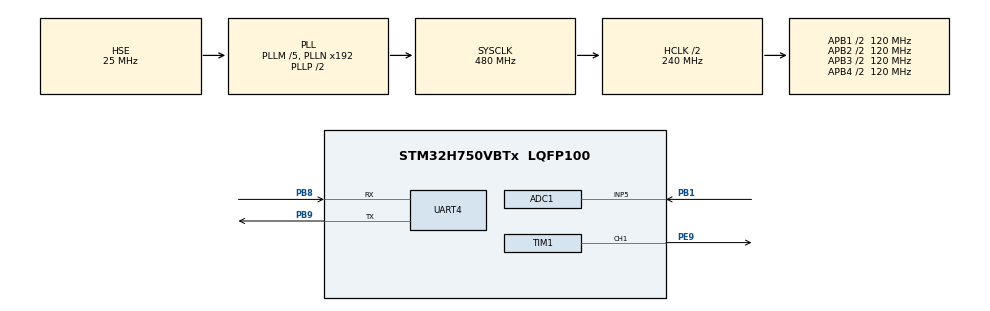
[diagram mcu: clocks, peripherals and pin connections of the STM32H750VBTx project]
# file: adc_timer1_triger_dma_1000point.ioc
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ADC1.Channel-2\#ChannelRegularConversion=ADC_CHANNEL_5
ADC1.ContinuousConvMode=DISABLE
ADC1.ConversionDataManagement=ADC_CONVERSIONDATA_DMA_ONESHOT
ADC1.DiscontinuousConvMode=DISABLE
ADC1.EnableRegularConversion=ENABLE
ADC1.ExternalTrigConv=ADC_EXTERNALTRIG_T1_TRGO
ADC1.NbrOfConversionFlag=1
ADC1.OffsetNumber-2\#ChannelRegularConversion=ADC_OFFSET_NONE
ADC1.OffsetSignedSaturation-2\#ChannelRegularConversion=DISABLE
ADC1.Overrun=ADC_OVR_DATA_OVERWRITTEN
ADC1.OversamplingMode=DISABLE
ADC1.Rank-2\#ChannelRegularConversion=1
ADC1.SamplingTime-2\#ChannelRegularConversion=ADC_SAMPLETIME_1CYCLE_5
ADC1.master=1
Dma.ADC1.0.Direction=DMA_PERIPH_TO_MEMORY
Dma.ADC1.0.EventEnable=DISABLE
Dma.ADC1.0.FIFOMode=DMA_FIFOMODE_DISABLE
Dma.ADC1.0.Instance=DMA1_Stream0
Dma.ADC1.0.MemDataAlignment=DMA_MDATAALIGN_WORD
Dma.ADC1.0.MemInc=DMA_MINC_ENABLE
Dma.ADC1.0.Mode=DMA_NORMAL
Dma.ADC1.0.PeriphDataAlignment=DMA_PDATAALIGN_WORD
Dma.ADC1.0.PeriphInc=DMA_PINC_DISABLE
Dma.ADC1.0.Polarity=HAL_DMAMUX_REQ_GEN_RISING
Dma.ADC1.0.Priority=DMA_PRIORITY_LOW
Dma.ADC1.0.RequestNumber=1
Dma.ADC1.0.SignalID=NONE
Dma.ADC1.0.SyncEnable=DISABLE
Dma.ADC1.0.SyncPolarity=HAL_DMAMUX_SYNC_NO_EVENT
Dma.ADC1.0.SyncRequestNumber=1
Dma.ADC1.0.SyncSignalID=NONE
Dma.Request0=ADC1
Mcu.Family=STM32H7
Mcu.Name=STM32H750VBTx
Mcu.Package=LQFP100
NVIC.ADC_IRQn=true\:3\:2\:true\:false\:true\:true\:true\:true
NVIC.DMA1_Stream0_IRQn=true\:3\:0\:true\:false\:true\:false\:true\:true
NVIC.PriorityGroup=NVIC_PRIORITYGROUP_2
NVIC.TIM1_UP_IRQn=true\:3\:3\:true\:false\:true\:true\:true\:true
PB1.Signal=ADCx_INP5
PB8.Mode=Asynchronous
PB8.Signal=UART4_RX
PB9.Mode=Asynchronous
PB9.Signal=UART4_TX
PE9.Signal=S_TIM1_CH1
PH0-OSC_IN\ (PH0).Mode=HSE-External-Oscillator
PH0-OSC_IN\ (PH0).Signal=RCC_OSC_IN
PH1-OSC_OUT\ (PH1).Mode=HSE-External-Oscillator
PH1-OSC_OUT\ (PH1).Signal=RCC_OSC_OUT
ProjectManager.HeapSize=0x1000
ProjectManager.StackSize=0x1000
ProjectManager.TargetToolchain=MDK-ARM V5
RCC.ADCCLockSelection=RCC_ADCCLKSOURCE_PLL3
RCC.ADCFreq_Value=20000000
RCC.APB1Freq_Value=120000000
RCC.APB2Freq_Value=120000000
RCC.APB3Freq_Value=120000000
RCC.APB4Freq_Value=120000000
RCC.CortexFreq_Value=480000000
RCC.D1PPRE=RCC_APB3_DIV2
RCC.D2PPRE1=RCC_APB1_DIV2
RCC.D2PPRE2=RCC_APB2_DIV2
RCC.D3PPRE=RCC_APB4_DIV2
RCC.DIVM1=5
RCC.DIVM2=25
RCC.DIVM3=25
RCC.DIVN1=192
RCC.DIVN2=240
RCC.DIVN3=200
RCC.DIVP3=10
RCC.DIVQ3=10
RCC.DIVR3=10
RCC.HCLKFreq_Value=240000000
RCC.HPRE=RCC_HCLK_DIV2
RCC.PLL2FRACN=0
RCC.PLL3FRACN=0
RCC.PLLFRACN=0
RCC.PLLSourceVirtual=RCC_PLLSOURCE_HSE
RCC.SPI123CLockSelection=RCC_SPI123CLKSOURCE_PLL2
RCC.SYSCLKFreq_VALUE=480000000
RCC.SYSCLKSource=RCC_SYSCLKSOURCE_PLLCLK
RCC.USBFreq_Value=480000000
SH.ADCx_INP5.0=ADC1_INP5,IN5-Single-Ended
SH.S_TIM1_CH1.0=TIM1_CH1,PWM Generation1 CH1
TIM1.AutoReloadPreload=TIM_AUTORELOAD_PRELOAD_ENABLE
TIM1.Channel-PWM\ Generation1\ CH1=TIM_CHANNEL_1
TIM1.OCPolarity_1=TIM_OCPOLARITY_LOW
TIM1.Period=2399
TIM1.TIM_MasterOutputTrigger=TIM_TRGO_OC1REF
TIM1.TIM_MasterOutputTrigger2=TIM_TRGO2_OC1
TIM1.TIM_MasterSlaveMode=TIM_MASTERSLAVEMODE_ENABLE
VP_TIM1_VS_ClockSourceINT.Mode=Internal
VP_VREFBUF_V_VREFBUF.Mode=ExternalMode
board=custom

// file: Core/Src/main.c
/* USER CODE BEGIN Header */
/**
  ******************************************************************************
  * @file           : main.c
  * @brief          : Main program body
  ******************************************************************************
  * @attention
  *
  * <h2><center>&copy; Copyright (c) 2021 STMicroelectronics.
  * All rights reserved.</center></h2>
  *
  * This software component is licensed by ST under BSD 3-Clause license,
  * the "License"; You may not use this file except in compliance with the
  * License. You may obtain a copy of the License at:
  *                        opensource.org/licenses/BSD-3-Clause
  *
  ******************************************************************************
  */
/* USER CODE END Header */
#include "main.h"
#include "adc.h"
#include "dma.h"
#include "tim.h"
#include "usart.h"
#include "gpio.h"

/* USER CODE BEGIN Includes */
#include "string.h"
#include "debug/debug.h"
/* USER CODE END Includes */

/* USER CODE BEGIN PTD */
#define ADC_DATA_LENGTH  1000   //定义采集数据长度为1000
uint32_t g_adc1_dma_data1[ADC_DATA_LENGTH];//定义adc1采集数据存放数组
uint8_t g_adc1_dma_complete_flag = 0;	//adc1数据dma采集完成标志，在dma采集完成回调函数设置
/* USER CODE END PTD */

void SystemClock_Config(void);

/* USER CODE BEGIN 0 */

//ADC回调函数，ADC采集完成后进入回调函数
//adc端口号
void HAL_ADC_ConvCpltCallback(ADC_HandleTypeDef *hadc)
{
	if(hadc->Instance==ADC1)
	{
		g_adc1_dma_complete_flag = 1;//采集完成标志
		HAL_TIM_Base_Stop_IT(&htim1);//tim1关闭
		HAL_ADC_Stop_DMA(&hadc1);
	}
}

void HMISendStr(uint8_t * buf)
{
  uint8_t i =0;
  while(1){
  if(buf[i]!=0){
    HAL_UART_Transmit(&huart4,&buf[i],sizeof(buf[i]),1000);
    while(__HAL_UART_GET_FLAG(&huart4,UART_FLAG_TC)==RESET){};
    i++;
  }
  else
	 return ;
  }
}

/* USER CODE END 0 */

int main(void)
{
  /* USER CODE BEGIN 1 */
	uint32_t i=0;
  /* USER CODE END 1 */

  /* MCU Configuration--------------------------------------------------------*/

  /* Reset of all peripherals, Initializes the Flash interface and the Systick. */
  HAL_Init();

  /* Configure the system clock */
  SystemClock_Config();

  /* Initialize all configured peripherals */
  MX_GPIO_Init();
//  MX_ADC1_Init();//注释掉，因ADC使用到了DMA，所以ADC初始化必须在DMA之后，这是stm32cube生成代码的bug
  MX_DMA_Init();
  MX_UART4_Init();
//  MX_TIM1_Init();
  /* USER CODE BEGIN 2 */
	MX_ADC1_Init();//因为使用了DMA，必须初始化在MX_DMA_Init函数之后，用stm32cube生成代码在MX_DMA_Init函数之前
	MX_TIM1_Init();
	HAL_TIM_Base_Start_IT(&htim1);//tim1开启
	HAL_ADC_Start_DMA(&hadc1,g_adc1_dma_data1,ADC_DATA_LENGTH);//ADC的dma开始采集

  /* USER CODE END 2 */

  /* Infinite loop */
  /* USER CODE BEGIN WHILE */
  while (1)
  {
		if(g_adc1_dma_complete_flag == 1)//采集数据没完成，采集完成后再发送
			{
				for(i=0;i<1000;i++)
				{
					uint8_t uartstr[100];
					sprintf((char*)uartstr,"%d\r\n",g_adc1_dma_data1[i]&0x0000ffff);
					HMISendStr(uartstr);
				}
				g_adc1_dma_complete_flag = 0;
				memset(g_adc1_dma_data1,0,ADC_DATA_LENGTH);//清除数据
				HAL_TIM_Base_Start_IT(&htim1);//tim1开启
				HAL_ADC_Start_DMA(&hadc1,g_adc1_dma_data1,ADC_DATA_LENGTH);//ADC的dma开始采集
			}
    /* USER CODE END WHILE */

  }
}

void SystemClock_Config(void)
{
  RCC_OscInitTypeDef RCC_OscInitStruct = {0};
  RCC_ClkInitTypeDef RCC_ClkInitStruct = {0};

  /** Supply configuration update enable
  */
  HAL_PWREx_ConfigSupply(PWR_LDO_SUPPLY);
  /** Configure the main internal regulator output voltage
  */
  __HAL_PWR_VOLTAGESCALING_CONFIG(PWR_REGULATOR_VOLTAGE_SCALE0);

  while(!__HAL_PWR_GET_FLAG(PWR_FLAG_VOSRDY)) {}
  /** Macro to configure the PLL clock source
  */
  __HAL_RCC_PLL_PLLSOURCE_CONFIG(RCC_PLLSOURCE_HSE);
  /** Initializes the RCC Oscillators according to the specified parameters
  * in the RCC_OscInitTypeDef structure.
  */
  RCC_OscInitStruct.OscillatorType = RCC_OSCILLATORTYPE_HSE;
  RCC_OscInitStruct.HSEState = RCC_HSE_ON;
  RCC_OscInitStruct.PLL.PLLState = RCC_PLL_ON;
  RCC_OscInitStruct.PLL.PLLSource = RCC_PLLSOURCE_HSE;
  RCC_OscInitStruct.PLL.PLLM = 5;
  RCC_OscInitStruct.PLL.PLLN = 192;
  RCC_OscInitStruct.PLL.PLLP = 2;
  RCC_OscInitStruct.PLL.PLLQ = 2;
  RCC_OscInitStruct.PLL.PLLR = 2;
  RCC_OscInitStruct.PLL.PLLRGE = RCC_PLL1VCIRANGE_2;
  RCC_OscInitStruct.PLL.PLLVCOSEL = RCC_PLL1VCOWIDE;
  RCC_OscInitStruct.PLL.PLLFRACN = 0;
  if (HAL_RCC_OscConfig(&RCC_OscInitStruct) != HAL_OK)
  {
    Error_Handler();
  }
  /** Initializes the CPU, AHB and APB buses clocks
  */
  RCC_ClkInitStruct.ClockType = RCC_CLOCKTYPE_HCLK|RCC_CLOCKTYPE_SYSCLK
                              |RCC_CLOCKTYPE_PCLK1|RCC_CLOCKTYPE_PCLK2
                              |RCC_CLOCKTYPE_D3PCLK1|RCC_CLOCKTYPE_D1PCLK1;
  RCC_ClkInitStruct.SYSCLKSource = RCC_SYSCLKSOURCE_PLLCLK;
  RCC_ClkInitStruct.SYSCLKDivider = RCC_SYSCLK_DIV1;
  RCC_ClkInitStruct.AHBCLKDivider = RCC_HCLK_DIV2;
  RCC_ClkInitStruct.APB3CLKDivider = RCC_APB3_DIV2;
  RCC_ClkInitStruct.APB1CLKDivider = RCC_APB1_DIV2;
  RCC_ClkInitStruct.APB2CLKDivider = RCC_APB2_DIV2;
  RCC_ClkInitStruct.APB4CLKDivider = RCC_APB4_DIV2;

  if (HAL_RCC_ClockConfig(&RCC_ClkInitStruct, FLASH_LATENCY_4) != HAL_OK)
  {
    Error_Handler();
  }
}

void Error_Handler(void)
{
  __disable_irq();
  while (1)
  {
  }
}

/************************ (C) COPYRIGHT STMicroelectronics *****END OF FILE****/
